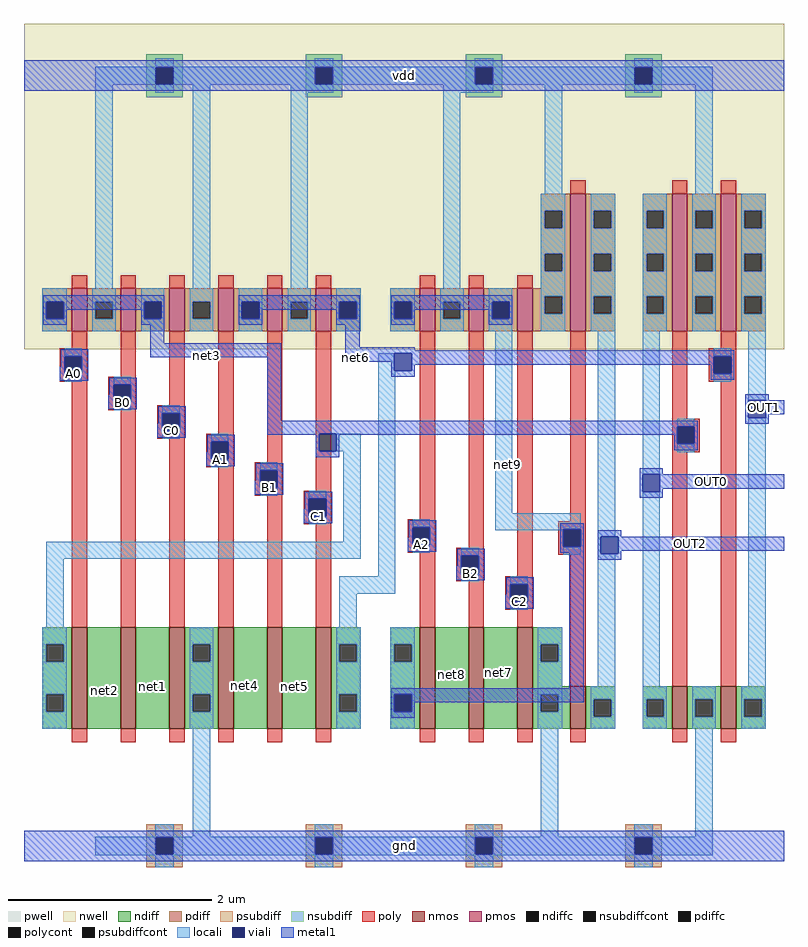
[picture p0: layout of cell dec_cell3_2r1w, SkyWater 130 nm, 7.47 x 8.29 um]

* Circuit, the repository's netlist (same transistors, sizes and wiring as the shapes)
* SPICE3 file created from dec_cell3_2r1w.ext - technology: sky130A


.subckt dec_cell3_2r1w A0 B0 C0 A1 B1 C1 A2 B2 C2 OUT0 OUT1 OUT2 vdd gnd
X0 net3 B0 vdd vdd sky130_fd_pr__pfet_01v8 ad=0 pd=0 as=0 ps=0 w=0.42 l=0.15
X1 OUT2 net9 vdd vdd sky130_fd_pr__pfet_01v8 ad=0 pd=0 as=0 ps=0 w=1.35 l=0.15
X2 gnd C0 net1 gnd sky130_fd_pr__nfet_01v8 ad=0 pd=0 as=0 ps=0 w=1.00 l=0.15
X3 net5 B1 net4 gnd sky130_fd_pr__nfet_01v8 ad=0 pd=0 as=0 ps=0 w=1.00 l=0.15
X4 OUT1 net6 vdd vdd sky130_fd_pr__pfet_01v8 ad=0 pd=0 as=0 ps=0 w=1.35 l=0.15
X5 net7 B2 net8 gnd sky130_fd_pr__nfet_01v8 ad=0 pd=0 as=0 ps=0 w=1.00 l=0.15
X6 vdd C0 net3 vdd sky130_fd_pr__pfet_01v8 ad=0 pd=0 as=0 ps=0 w=0.42 l=0.15
X7 vdd B1 net6 vdd sky130_fd_pr__pfet_01v8 ad=0 pd=0 as=0 ps=0 w=0.42 l=0.15
X8 net9 B2 vdd vdd sky130_fd_pr__pfet_01v8 ad=0 pd=0 as=0 ps=0 w=0.42 l=0.15
X9 net2 A0 net3 gnd sky130_fd_pr__nfet_01v8 ad=0 pd=0 as=0 ps=0 w=1.00 l=0.15
X10 net4 A1 gnd gnd sky130_fd_pr__nfet_01v8 ad=0 pd=0 as=0 ps=0 w=1.00 l=0.15
X11 net6 C1 net5 gnd sky130_fd_pr__nfet_01v8 ad=0 pd=0 as=0 ps=0 w=1.00 l=0.15
X12 gnd C2 net7 gnd sky130_fd_pr__nfet_01v8 ad=0 pd=0 as=0 ps=0 w=1.00 l=0.15
X13 net8 A2 net9 gnd sky130_fd_pr__nfet_01v8 ad=0 pd=0 as=0 ps=0 w=1.00 l=0.15
X14 gnd net3 OUT0 gnd sky130_fd_pr__nfet_01v8 ad=0 pd=0 as=0 ps=0 w=0.42 l=0.15
X15 vdd A0 net3 vdd sky130_fd_pr__pfet_01v8 ad=0 pd=0 as=0 ps=0 w=0.42 l=0.15
X16 net6 A1 vdd vdd sky130_fd_pr__pfet_01v8 ad=0 pd=0 as=0 ps=0 w=0.42 l=0.15
X17 net6 C1 vdd vdd sky130_fd_pr__pfet_01v8 ad=0 pd=0 as=0 ps=0 w=0.42 l=0.15
X18 vdd A2 net9 vdd sky130_fd_pr__pfet_01v8 ad=0 pd=0 as=0 ps=0 w=0.42 l=0.15
X19 vdd C2 net9 vdd sky130_fd_pr__pfet_01v8 ad=0 pd=0 as=0 ps=0 w=0.42 l=0.15
X20 vdd net3 OUT0 vdd sky130_fd_pr__pfet_01v8 ad=0 pd=0 as=0 ps=0 w=1.35 l=0.15
X21 net1 B0 net2 gnd sky130_fd_pr__nfet_01v8 ad=0 pd=0 as=0 ps=0 w=1.00 l=0.15
X22 OUT2 net9 gnd gnd sky130_fd_pr__nfet_01v8 ad=0 pd=0 as=0 ps=0 w=0.42 l=0.15
X23 OUT1 net6 gnd gnd sky130_fd_pr__nfet_01v8 ad=0 pd=0 as=0 ps=0 w=0.42 l=0.15
.ends

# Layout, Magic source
magic
tech sky130A
magscale 1 2
<< nwell >>
rect 0 976 1494 1616
<< pwell >>
rect 240 -42 312 42
rect 554 -42 626 42
rect 868 -42 940 42
rect 1182 -42 1254 42
<< nmos >>
rect 94 230 124 430
rect 190 230 220 430
rect 286 230 316 430
rect 382 230 412 430
rect 478 230 508 430
rect 574 230 604 430
rect 778 230 808 430
rect 874 230 904 430
rect 970 230 1000 430
rect 1074 230 1104 314
rect 1274 230 1304 314
rect 1370 230 1400 314
<< pmos >>
rect 94 1012 124 1096
rect 190 1012 220 1096
rect 286 1012 316 1096
rect 382 1012 412 1096
rect 478 1012 508 1096
rect 574 1012 604 1096
rect 778 1012 808 1096
rect 874 1012 904 1096
rect 970 1012 1000 1096
rect 1074 1012 1104 1282
rect 1274 1012 1304 1282
rect 1370 1012 1400 1282
<< ndiff >>
rect 36 396 94 430
rect 36 362 44 396
rect 78 362 94 396
rect 36 298 94 362
rect 36 264 44 298
rect 78 264 94 298
rect 36 230 94 264
rect 124 230 190 430
rect 220 230 286 430
rect 316 396 382 430
rect 316 362 332 396
rect 366 362 382 396
rect 316 298 382 362
rect 316 264 332 298
rect 366 264 382 298
rect 316 230 382 264
rect 412 230 478 430
rect 508 230 574 430
rect 604 396 662 430
rect 604 362 620 396
rect 654 362 662 396
rect 604 298 662 362
rect 604 264 620 298
rect 654 264 662 298
rect 604 230 662 264
rect 720 396 778 430
rect 720 362 728 396
rect 762 362 778 396
rect 720 298 778 362
rect 720 264 728 298
rect 762 264 778 298
rect 720 230 778 264
rect 808 230 874 430
rect 904 230 970 430
rect 1000 396 1058 430
rect 1000 362 1016 396
rect 1050 362 1058 396
rect 1000 314 1058 362
rect 1000 298 1074 314
rect 1000 264 1016 298
rect 1050 264 1074 298
rect 1000 230 1074 264
rect 1104 288 1162 314
rect 1104 254 1120 288
rect 1154 254 1162 288
rect 1104 230 1162 254
rect 1216 288 1274 314
rect 1216 254 1224 288
rect 1258 254 1274 288
rect 1216 230 1274 254
rect 1304 288 1370 314
rect 1304 254 1320 288
rect 1354 254 1370 288
rect 1304 230 1370 254
rect 1400 288 1458 314
rect 1400 254 1416 288
rect 1450 254 1458 288
rect 1400 230 1458 254
<< pdiff >>
rect 1016 1248 1074 1282
rect 1016 1214 1024 1248
rect 1058 1214 1074 1248
rect 1016 1164 1074 1214
rect 1016 1130 1024 1164
rect 1058 1130 1074 1164
rect 1016 1096 1074 1130
rect 36 1070 94 1096
rect 36 1036 44 1070
rect 78 1036 94 1070
rect 36 1012 94 1036
rect 124 1070 190 1096
rect 124 1036 140 1070
rect 174 1036 190 1070
rect 124 1012 190 1036
rect 220 1070 286 1096
rect 220 1036 236 1070
rect 270 1036 286 1070
rect 220 1012 286 1036
rect 316 1070 382 1096
rect 316 1036 332 1070
rect 366 1036 382 1070
rect 316 1012 382 1036
rect 412 1070 478 1096
rect 412 1036 428 1070
rect 462 1036 478 1070
rect 412 1012 478 1036
rect 508 1070 574 1096
rect 508 1036 524 1070
rect 558 1036 574 1070
rect 508 1012 574 1036
rect 604 1070 662 1096
rect 604 1036 620 1070
rect 654 1036 662 1070
rect 604 1012 662 1036
rect 720 1070 778 1096
rect 720 1036 728 1070
rect 762 1036 778 1070
rect 720 1012 778 1036
rect 808 1070 874 1096
rect 808 1036 824 1070
rect 858 1036 874 1070
rect 808 1012 874 1036
rect 904 1070 970 1096
rect 904 1036 920 1070
rect 954 1036 970 1070
rect 904 1012 970 1036
rect 1000 1080 1074 1096
rect 1000 1046 1024 1080
rect 1058 1046 1074 1080
rect 1000 1012 1074 1046
rect 1104 1248 1162 1282
rect 1104 1214 1120 1248
rect 1154 1214 1162 1248
rect 1104 1164 1162 1214
rect 1104 1130 1120 1164
rect 1154 1130 1162 1164
rect 1104 1080 1162 1130
rect 1104 1046 1120 1080
rect 1154 1046 1162 1080
rect 1104 1012 1162 1046
rect 1216 1248 1274 1282
rect 1216 1214 1224 1248
rect 1258 1214 1274 1248
rect 1216 1164 1274 1214
rect 1216 1130 1224 1164
rect 1258 1130 1274 1164
rect 1216 1080 1274 1130
rect 1216 1046 1224 1080
rect 1258 1046 1274 1080
rect 1216 1012 1274 1046
rect 1304 1248 1370 1282
rect 1304 1214 1320 1248
rect 1354 1214 1370 1248
rect 1304 1164 1370 1214
rect 1304 1130 1320 1164
rect 1354 1130 1370 1164
rect 1304 1080 1370 1130
rect 1304 1046 1320 1080
rect 1354 1046 1370 1080
rect 1304 1012 1370 1046
rect 1400 1248 1458 1282
rect 1400 1214 1416 1248
rect 1450 1214 1458 1248
rect 1400 1164 1458 1214
rect 1400 1130 1416 1164
rect 1450 1130 1458 1164
rect 1400 1080 1458 1130
rect 1400 1046 1416 1080
rect 1450 1046 1458 1080
rect 1400 1012 1458 1046
<< ndiffc >>
rect 44 362 78 396
rect 44 264 78 298
rect 332 362 366 396
rect 332 264 366 298
rect 620 362 654 396
rect 620 264 654 298
rect 728 362 762 396
rect 728 264 762 298
rect 1016 362 1050 396
rect 1016 264 1050 298
rect 1120 254 1154 288
rect 1224 254 1258 288
rect 1320 254 1354 288
rect 1416 254 1450 288
<< pdiffc >>
rect 1024 1214 1058 1248
rect 1024 1130 1058 1164
rect 44 1036 78 1070
rect 140 1036 174 1070
rect 236 1036 270 1070
rect 332 1036 366 1070
rect 428 1036 462 1070
rect 524 1036 558 1070
rect 620 1036 654 1070
rect 728 1036 762 1070
rect 824 1036 858 1070
rect 920 1036 954 1070
rect 1024 1046 1058 1080
rect 1120 1214 1154 1248
rect 1120 1130 1154 1164
rect 1120 1046 1154 1080
rect 1224 1214 1258 1248
rect 1224 1130 1258 1164
rect 1224 1046 1258 1080
rect 1320 1214 1354 1248
rect 1320 1130 1354 1164
rect 1320 1046 1354 1080
rect 1416 1214 1450 1248
rect 1416 1130 1450 1164
rect 1416 1046 1450 1080
<< psubdiff >>
rect 240 17 312 42
rect 240 -17 259 17
rect 293 -17 312 17
rect 240 -42 312 -17
rect 554 17 626 42
rect 554 -17 573 17
rect 607 -17 626 17
rect 554 -42 626 -17
rect 868 17 940 42
rect 868 -17 887 17
rect 921 -17 940 17
rect 868 -42 940 -17
rect 1182 17 1254 42
rect 1182 -17 1201 17
rect 1235 -17 1254 17
rect 1182 -42 1254 -17
<< nsubdiff >>
rect 240 1531 312 1556
rect 240 1497 259 1531
rect 293 1497 312 1531
rect 240 1472 312 1497
rect 554 1531 626 1556
rect 554 1497 573 1531
rect 607 1497 626 1531
rect 554 1472 626 1497
rect 868 1531 940 1556
rect 868 1497 887 1531
rect 921 1497 940 1531
rect 868 1472 940 1497
rect 1182 1531 1254 1556
rect 1182 1497 1201 1531
rect 1235 1497 1254 1531
rect 1182 1472 1254 1497
<< psubdiffcont >>
rect 259 -17 293 17
rect 573 -17 607 17
rect 887 -17 921 17
rect 1201 -17 1235 17
<< nsubdiffcont >>
rect 259 1497 293 1531
rect 573 1497 607 1531
rect 887 1497 921 1531
rect 1201 1497 1235 1531
<< poly >>
rect 1074 1282 1104 1308
rect 1274 1282 1304 1308
rect 1370 1282 1400 1308
rect 94 1096 124 1122
rect 190 1096 220 1122
rect 286 1096 316 1122
rect 382 1096 412 1122
rect 478 1096 508 1122
rect 574 1096 604 1122
rect 778 1096 808 1122
rect 874 1096 904 1122
rect 970 1096 1000 1122
rect 94 978 124 1012
rect 70 962 124 978
rect 70 928 80 962
rect 114 928 124 962
rect 70 912 124 928
rect 190 922 220 1012
rect 94 430 124 912
rect 166 906 220 922
rect 166 872 176 906
rect 210 872 220 906
rect 166 856 220 872
rect 286 866 316 1012
rect 190 430 220 856
rect 262 850 316 866
rect 262 816 272 850
rect 306 816 316 850
rect 262 800 316 816
rect 382 810 412 1012
rect 286 430 316 800
rect 358 794 412 810
rect 358 760 368 794
rect 402 760 412 794
rect 358 744 412 760
rect 478 754 508 1012
rect 382 430 412 744
rect 454 738 508 754
rect 454 704 464 738
rect 498 704 508 738
rect 454 688 508 704
rect 574 698 604 1012
rect 478 430 508 688
rect 550 682 604 698
rect 550 648 560 682
rect 594 648 604 682
rect 550 632 604 648
rect 778 642 808 1012
rect 574 430 604 632
rect 754 626 808 642
rect 754 592 764 626
rect 798 592 808 626
rect 754 576 808 592
rect 874 586 904 1012
rect 778 430 808 576
rect 850 570 904 586
rect 850 536 860 570
rect 894 536 904 570
rect 850 520 904 536
rect 970 530 1000 1012
rect 1074 638 1104 1012
rect 1050 622 1104 638
rect 1050 588 1060 622
rect 1094 588 1104 622
rect 1050 572 1104 588
rect 874 430 904 520
rect 946 514 1000 530
rect 946 480 956 514
rect 990 480 1000 514
rect 946 464 1000 480
rect 970 430 1000 464
rect 1074 314 1104 572
rect 1274 840 1304 1012
rect 1370 978 1400 1012
rect 1346 962 1400 978
rect 1346 928 1356 962
rect 1390 928 1400 962
rect 1346 912 1400 928
rect 1274 824 1328 840
rect 1274 790 1284 824
rect 1318 790 1328 824
rect 1274 774 1328 790
rect 1274 314 1304 774
rect 1370 314 1400 912
rect 94 204 124 230
rect 190 204 220 230
rect 286 204 316 230
rect 382 204 412 230
rect 478 204 508 230
rect 574 204 604 230
rect 778 204 808 230
rect 874 204 904 230
rect 970 204 1000 230
rect 1074 204 1104 230
rect 1274 204 1304 230
rect 1370 204 1400 230
<< polycont >>
rect 80 928 114 962
rect 176 872 210 906
rect 272 816 306 850
rect 368 760 402 794
rect 464 704 498 738
rect 560 648 594 682
rect 764 592 798 626
rect 860 536 894 570
rect 1060 588 1094 622
rect 956 480 990 514
rect 1356 928 1390 962
rect 1284 790 1318 824
<< locali >>
rect 258 1532 294 1548
rect 572 1532 608 1548
rect 886 1532 922 1548
rect 1200 1532 1236 1548
rect 140 1531 1354 1532
rect 140 1497 259 1531
rect 293 1497 573 1531
rect 607 1497 887 1531
rect 921 1497 1201 1531
rect 1235 1497 1354 1531
rect 140 1496 1354 1497
rect 140 1096 174 1496
rect 258 1480 294 1496
rect 332 1096 366 1496
rect 524 1480 608 1496
rect 824 1480 922 1496
rect 524 1096 558 1480
rect 824 1096 858 1480
rect 1024 1282 1058 1496
rect 1200 1480 1236 1496
rect 1320 1282 1354 1496
rect 1016 1248 1064 1282
rect 1016 1214 1024 1248
rect 1058 1214 1064 1248
rect 1016 1164 1064 1214
rect 1016 1130 1024 1164
rect 1058 1130 1064 1164
rect 36 1070 84 1096
rect 36 1036 44 1070
rect 78 1036 84 1070
rect 36 1012 84 1036
rect 134 1070 180 1096
rect 134 1036 140 1070
rect 174 1036 180 1070
rect 134 1012 180 1036
rect 230 1070 276 1096
rect 230 1036 236 1070
rect 270 1036 276 1070
rect 230 1012 276 1036
rect 326 1070 372 1096
rect 326 1036 332 1070
rect 366 1036 372 1070
rect 326 1012 372 1036
rect 422 1070 468 1096
rect 422 1036 428 1070
rect 462 1036 468 1070
rect 422 1012 468 1036
rect 518 1070 564 1096
rect 518 1036 524 1070
rect 558 1036 564 1070
rect 518 1012 564 1036
rect 614 1070 662 1096
rect 614 1036 620 1070
rect 654 1036 662 1070
rect 614 1012 662 1036
rect 720 1070 768 1096
rect 720 1036 728 1070
rect 762 1036 768 1070
rect 720 1012 768 1036
rect 818 1070 864 1096
rect 818 1036 824 1070
rect 858 1036 864 1070
rect 818 1012 864 1036
rect 914 1070 960 1096
rect 914 1036 920 1070
rect 954 1036 960 1070
rect 914 1012 960 1036
rect 1016 1080 1064 1130
rect 1016 1046 1024 1080
rect 1058 1046 1064 1080
rect 1016 1012 1064 1046
rect 1114 1248 1162 1282
rect 1114 1214 1120 1248
rect 1154 1214 1162 1248
rect 1114 1164 1162 1214
rect 1114 1130 1120 1164
rect 1154 1130 1162 1164
rect 1114 1080 1162 1130
rect 1114 1046 1120 1080
rect 1154 1046 1162 1080
rect 1114 1012 1162 1046
rect 80 962 114 978
rect 80 912 114 928
rect 696 934 728 968
rect 176 906 210 922
rect 176 856 210 872
rect 272 850 306 866
rect 272 800 306 816
rect 368 794 402 810
rect 614 776 662 810
rect 368 744 402 760
rect 464 738 498 754
rect 464 688 498 704
rect 560 682 594 698
rect 560 632 594 648
rect 628 598 662 776
rect 44 564 662 598
rect 44 430 78 564
rect 696 530 730 934
rect 926 654 960 1012
rect 764 626 798 642
rect 926 622 1094 654
rect 926 620 1060 622
rect 764 576 798 592
rect 620 496 730 530
rect 860 570 894 586
rect 1060 572 1094 588
rect 1128 608 1162 1012
rect 1216 1248 1264 1282
rect 1216 1214 1224 1248
rect 1258 1214 1264 1248
rect 1216 1164 1264 1214
rect 1216 1130 1224 1164
rect 1258 1130 1264 1164
rect 1216 1080 1264 1130
rect 1216 1046 1224 1080
rect 1258 1046 1264 1080
rect 1216 1012 1264 1046
rect 1314 1248 1360 1282
rect 1314 1214 1320 1248
rect 1354 1214 1360 1248
rect 1314 1164 1360 1214
rect 1314 1130 1320 1164
rect 1354 1130 1360 1164
rect 1314 1080 1360 1130
rect 1314 1046 1320 1080
rect 1354 1046 1360 1080
rect 1314 1012 1360 1046
rect 1410 1248 1458 1282
rect 1410 1214 1416 1248
rect 1450 1214 1458 1248
rect 1410 1164 1458 1214
rect 1410 1130 1416 1164
rect 1450 1130 1458 1164
rect 1410 1080 1458 1130
rect 1410 1046 1416 1080
rect 1450 1046 1458 1080
rect 1410 1012 1458 1046
rect 1216 730 1250 1012
rect 1356 962 1390 978
rect 1356 912 1390 928
rect 1424 876 1458 1012
rect 1284 824 1318 840
rect 1284 774 1318 790
rect 1128 574 1134 608
rect 860 520 894 536
rect 956 514 990 530
rect 620 430 654 496
rect 956 464 990 480
rect 36 396 84 430
rect 36 362 44 396
rect 78 362 84 396
rect 36 298 84 362
rect 36 264 44 298
rect 78 264 84 298
rect 36 230 84 264
rect 326 396 372 430
rect 326 362 332 396
rect 366 362 372 396
rect 326 298 372 362
rect 326 264 332 298
rect 366 264 372 298
rect 326 230 372 264
rect 614 396 662 430
rect 614 362 620 396
rect 654 362 662 396
rect 614 298 662 362
rect 614 264 620 298
rect 654 264 662 298
rect 614 230 662 264
rect 720 396 768 430
rect 720 362 728 396
rect 762 362 768 396
rect 720 298 768 362
rect 720 264 728 298
rect 762 264 768 298
rect 720 230 768 264
rect 1010 396 1058 430
rect 1010 362 1016 396
rect 1050 362 1058 396
rect 1010 298 1058 362
rect 1128 314 1162 574
rect 1010 264 1016 298
rect 1050 264 1058 298
rect 1010 230 1058 264
rect 1114 288 1162 314
rect 1114 254 1120 288
rect 1154 254 1162 288
rect 1114 230 1162 254
rect 1216 314 1250 696
rect 1424 314 1458 842
rect 1216 288 1264 314
rect 1216 254 1224 288
rect 1258 254 1264 288
rect 1216 230 1264 254
rect 1314 288 1360 314
rect 1314 254 1320 288
rect 1354 254 1360 288
rect 1314 230 1360 254
rect 1410 288 1458 314
rect 1410 254 1416 288
rect 1450 254 1458 288
rect 1410 230 1458 254
rect 258 18 294 42
rect 332 18 366 230
rect 572 18 608 42
rect 886 18 922 42
rect 1016 18 1050 230
rect 1200 18 1236 42
rect 1320 18 1354 230
rect 140 17 1354 18
rect 140 -17 259 17
rect 293 -17 573 17
rect 607 -17 887 17
rect 921 -17 1201 17
rect 1235 -17 1354 17
rect 140 -18 1354 -17
rect 258 -42 294 -18
rect 572 -42 608 -18
rect 886 -42 922 -18
rect 1200 -42 1236 -18
<< viali >>
rect 259 1497 293 1531
rect 573 1497 607 1531
rect 887 1497 921 1531
rect 1201 1497 1235 1531
rect 44 1036 78 1070
rect 236 1036 270 1070
rect 428 1036 462 1070
rect 620 1036 654 1070
rect 728 1036 762 1070
rect 920 1036 954 1070
rect 80 928 114 962
rect 728 934 762 968
rect 176 872 210 906
rect 272 816 306 850
rect 368 760 402 794
rect 580 776 614 810
rect 464 704 498 738
rect 560 648 594 682
rect 764 592 798 626
rect 1060 588 1094 622
rect 1356 928 1390 962
rect 1424 842 1458 876
rect 1284 790 1318 824
rect 1216 696 1250 730
rect 1134 574 1168 608
rect 860 536 894 570
rect 956 480 990 514
rect 728 264 762 298
rect 259 -17 293 17
rect 573 -17 607 17
rect 887 -17 921 17
rect 1201 -17 1235 17
<< metal1 >>
rect 0 1531 1494 1544
rect 0 1497 259 1531
rect 293 1497 573 1531
rect 607 1497 887 1531
rect 921 1497 1201 1531
rect 1235 1497 1494 1531
rect 0 1484 1494 1497
rect 38 1070 276 1082
rect 38 1036 44 1070
rect 78 1054 236 1070
rect 78 1036 84 1054
rect 38 1024 84 1036
rect 230 1036 236 1054
rect 270 1036 276 1070
rect 230 1024 276 1036
rect 422 1070 660 1082
rect 422 1036 428 1070
rect 462 1054 620 1070
rect 462 1036 468 1054
rect 422 1024 468 1036
rect 614 1036 620 1054
rect 654 1036 660 1070
rect 614 1024 660 1036
rect 722 1070 960 1082
rect 722 1036 728 1070
rect 762 1054 920 1070
rect 762 1036 768 1054
rect 722 1024 768 1036
rect 914 1036 920 1054
rect 954 1036 960 1070
rect 914 1024 960 1036
rect 248 988 276 1024
rect 72 962 126 976
rect 72 942 80 962
rect 70 928 80 942
rect 114 928 126 962
rect 248 960 506 988
rect 70 914 126 928
rect 168 906 222 920
rect 168 886 176 906
rect 166 872 176 886
rect 210 872 222 906
rect 166 858 222 872
rect 264 850 318 864
rect 264 830 272 850
rect 262 816 272 830
rect 306 816 318 850
rect 262 802 318 816
rect 478 836 506 960
rect 632 980 660 1024
rect 632 974 768 980
rect 632 968 1396 974
rect 632 952 728 968
rect 722 934 728 952
rect 762 962 1396 968
rect 762 946 1356 962
rect 762 934 768 946
rect 722 922 768 934
rect 1350 928 1356 946
rect 1390 928 1396 962
rect 1350 916 1396 928
rect 1418 876 1464 888
rect 1418 842 1424 876
rect 1458 848 1494 876
rect 1458 842 1464 848
rect 478 824 1324 836
rect 1418 830 1464 842
rect 478 810 1284 824
rect 478 808 580 810
rect 360 794 414 808
rect 360 774 368 794
rect 358 760 368 774
rect 402 760 414 794
rect 574 776 580 808
rect 614 808 1284 810
rect 614 776 620 808
rect 1278 790 1284 808
rect 1318 790 1324 824
rect 1278 778 1324 790
rect 574 764 620 776
rect 358 746 414 760
rect 456 738 510 752
rect 456 718 464 738
rect 454 704 464 718
rect 498 704 510 738
rect 454 690 510 704
rect 1210 730 1256 742
rect 1210 696 1216 730
rect 1250 702 1494 730
rect 1250 696 1256 702
rect 552 682 606 696
rect 1210 684 1256 696
rect 552 662 560 682
rect 550 648 560 662
rect 594 648 606 682
rect 550 634 606 648
rect 756 626 810 640
rect 756 606 764 626
rect 754 592 764 606
rect 798 592 810 626
rect 754 578 810 592
rect 1054 622 1100 634
rect 1054 588 1060 622
rect 1094 588 1100 622
rect 852 570 906 584
rect 1054 576 1100 588
rect 852 550 860 570
rect 850 536 860 550
rect 894 536 906 570
rect 850 522 906 536
rect 948 514 1002 528
rect 948 494 956 514
rect 946 480 956 494
rect 990 480 1002 514
rect 946 466 1002 480
rect 1072 310 1100 576
rect 1128 608 1174 620
rect 1128 574 1134 608
rect 1168 580 1494 608
rect 1168 574 1174 580
rect 1128 562 1174 574
rect 722 298 1100 310
rect 722 264 728 298
rect 762 282 1100 298
rect 762 264 768 282
rect 722 252 768 264
rect 0 17 1494 30
rect 0 -17 259 17
rect 293 -17 573 17
rect 607 -17 887 17
rect 921 -17 1201 17
rect 1235 -17 1494 17
rect 0 -30 1494 -17
<< labels >>
rlabel metal1 s 358 964 358 964 4 net3
rlabel mvpsubdiff s 434 316 434 316 4 net4
rlabel mvpsubdiff s 532 314 532 314 4 net5
rlabel metal1 s 652 960 652 960 4 net6
rlabel mvpsubdiff s 252 314 252 314 4 net1
rlabel mvpsubdiff s 158 306 158 306 4 net2
rlabel mvpsubdiff s 932 340 932 340 4 net7
rlabel mvpsubdiff s 840 336 840 336 4 net8
rlabel locali s 950 750 950 750 4 net9
rlabel metal1 s 70 914 126 942 4 A0
port 1 nsew
rlabel metal1 s 166 858 222 886 4 B0
port 2 nsew
rlabel metal1 s 262 802 318 830 4 C0
port 3 nsew
rlabel metal1 s 358 746 414 774 4 A1
port 4 nsew
rlabel metal1 s 454 690 510 718 4 B1
port 5 nsew
rlabel metal1 s 550 634 606 662 4 C1
port 6 nsew
rlabel metal1 s 754 578 810 606 4 A2
port 7 nsew
rlabel metal1 s 850 522 906 550 4 B2
port 8 nsew
rlabel metal1 s 946 466 1002 494 4 C2
port 9 nsew
rlabel metal1 s 1418 848 1494 876 4 OUT1
port 10 nsew
rlabel metal1 s 1210 702 1494 730 4 OUT0
port 11 nsew
rlabel metal1 s 1128 580 1494 608 4 OUT2
port 12 nsew
rlabel metal1 s 0 1484 1494 1544 4 vdd
port 13 nsew
rlabel metal1 s 0 -30 1494 30 4 gnd
port 14 nsew
rlabel metal1 s 98 928 98 928 4 A0
rlabel metal1 s 194 872 194 872 4 B0
rlabel metal1 s 290 816 290 816 4 C0
rlabel metal1 s 386 760 386 760 4 A1
rlabel metal1 s 482 704 482 704 4 B1
rlabel metal1 s 578 648 578 648 4 C1
rlabel metal1 s 782 592 782 592 4 A2
rlabel metal1 s 878 536 878 536 4 B2
rlabel metal1 s 974 480 974 480 4 C2
rlabel metal1 s 1352 716 1352 716 4 OUT0
rlabel metal1 s 1456 862 1456 862 4 OUT1
rlabel metal1 s 1311 594 1311 594 4 OUT2
rlabel metal1 s 747 1514 747 1514 4 vdd
rlabel metal1 s 747 0 747 0 4 gnd
<< properties >>
string FIXED_BBOX 0 0 1494 1514
string GDS_FILE sram_0rw2r1w_2_16_sky130A.gds
string GDS_END 432064
string GDS_START 407550
<< end >>
